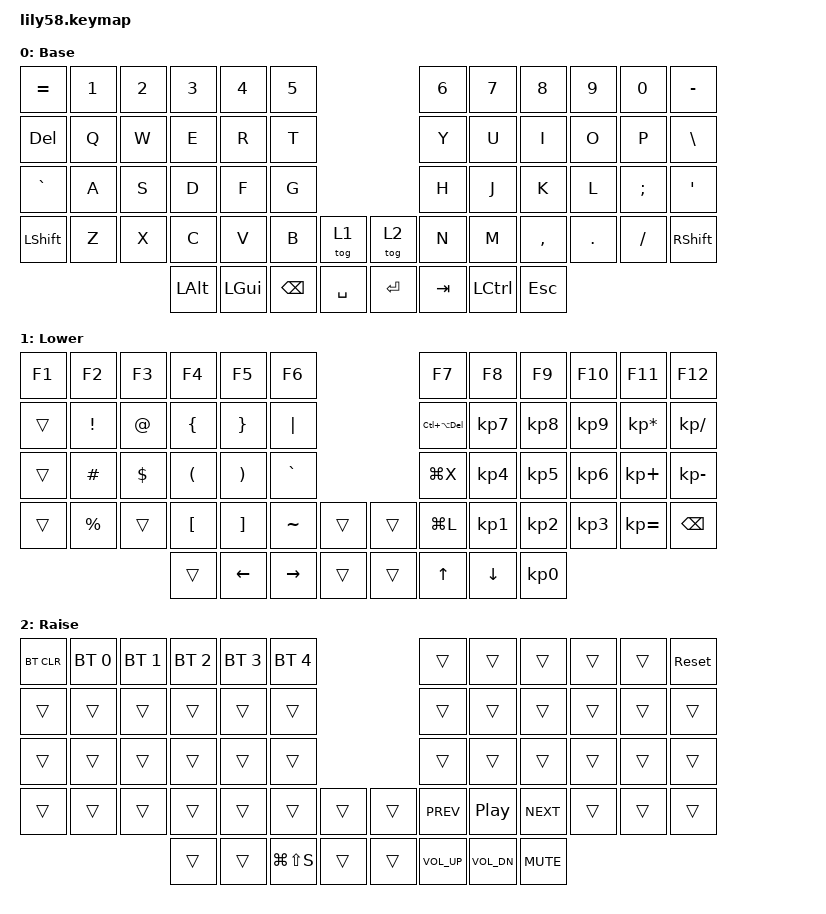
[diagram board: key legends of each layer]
/*
 * Copyright (c) 2020 The ZMK Contributors
 *
 * SPDX-License-Identifier: MIT
 */

#include <behaviors.dtsi>
#include <dt-bindings/zmk/bt.h>
#include <dt-bindings/zmk/keys.h>

/ {
    keymap {
        compatible = "zmk,keymap";

        default_layer {
            // ------------------------------------------------------------------------------------------------------------
            // |  ESC  |  1  |  2  |  3   |  4   |  5   |                   |  6   |  7    |  8    |  9   |   0   |   `   |
            // |  TAB  |  Q  |  W  |  E   |  R   |  T   |                   |  Y   |  U    |  I    |  O   |   P   |   -   |
            // |  CTRL |  A  |  S  |  D   |  F   |  G   |                   |  H   |  J    |  K    |  L   |   ;   |   '   |
            // | SHIFT |  Z  |  X  |  C   |  V   |  B   |   "["  |  |  "]"  |  N   |  M    |  ,    |  .   |   /   | SHIFT |
            //                     | ALT  | GUI  | LOWER|  SPACE |  | ENTER | RAISE| BSPC  | GUI   |

            label = "Base";
            bindings = <
&kp EQUAL   &kp N1  &kp N2  &kp N3    &kp N4    &kp N5                               &kp N6   &kp N7            &kp N8      &kp N9   &kp N0    &kp MINUS
&kp DELETE  &kp Q   &kp W   &kp E     &kp R     &kp T                                &kp Y    &kp U             &kp I       &kp O    &kp P     &kp BACKSLASH
&kp GRAVE   &kp A   &kp S   &kp D     &kp F     &kp G                                &kp H    &kp J             &kp K       &kp L    &kp SEMI  &kp SQT
&kp LSHFT   &kp Z   &kp X   &kp C     &kp V     &kp B          &tog 1       &tog 2   &kp N    &kp M             &kp COMMA   &kp DOT  &kp FSLH  &kp RSHFT
                            &kp LALT  &kp LGUI  &kp BACKSPACE  &kp SPACE    &kp RET  &kp TAB  &kp LEFT_CONTROL  &kp ESCAPE
            >;
        };

        lower_layer {
            // ------------------------------------------------------------------------------------------------------------
            // | BTCLR | BT1 | BT2 |  BT3 |  BT4 |  BT5 |                   |      |       |       |      |       |       |
            // |  F1   |  F2 |  F3 |  F4  |  F5  |  F6  |                   |  F7  |  F8   |  F9   |  F10 |  F11  |  F12  |
            // |   `   |  !  |  @  |  #   |  $   |  %   |                   |  ^   |  &    |  *    |  (   |   )   |   ~   |
            // |       |     |     |      |      |      |        |  |       |      |  _    |  +    |  {   |   }   |  "|"  |
            //                     |      |      |      |        |  |       |      |       |       |

            label = "Lower";
            bindings = <
&kp F1  &kp F2           &kp F3       &kp F4                &kp F5                 &kp F6                             &kp F7           &kp F8          &kp F9     &kp F10    &kp F11          &kp F12
&trans  &kp EXCLAMATION  &kp AT_SIGN  &kp LEFT_BRACE        &kp RIGHT_BRACE        &kp PIPE                           &kp LC(LA(DEL))  &kp KP_N7       &kp KP_N8  &kp KP_N9  &kp KP_MULTIPLY  &kp KP_DIVIDE
&trans  &kp HASH         &kp DOLLAR   &kp LEFT_PARENTHESIS  &kp RIGHT_PARENTHESIS  &kp GRAVE                          &kp LG(X)        &kp KP_N4       &kp KP_N5  &kp KP_N6  &kp KP_PLUS      &kp KP_SUBTRACT
&trans  &kp PERCENT      &trans       &kp LEFT_BRACKET      &kp RIGHT_BRACKET      &kp TILDE        &trans    &trans  &kp LG(L)        &kp KP_N1       &kp KP_N2  &kp KP_N3  &kp KP_EQUAL     &kp BACKSPACE
                                      &trans                &kp LEFT_ARROW         &kp RIGHT_ARROW  &trans    &trans  &kp UP           &kp DOWN_ARROW  &kp KP_N0
            >;
        };

        raise_layer {
            // ------------------------------------------------------------------------------------------------------------
            // |       |     |     |      |      |      |                   |      |       |       |      |       |       |
            // |   `   |  1  |  2  |  3   |  4   |  5   |                   |  6   |   7   |   8   |  9   |   0   |       |
            // |   F1  |  F2 |  F3 |  F4  |  F5  |  F6  |                   |      |   <-  |   v   |  ^   |  ->   |       |
            // |   F7  |  F8 |  F9 |  F10 |  F11 |  F12 |        |  |       |  +   |   -   |   =   |  [   |   ]   |   \   |
            //                     |      |      |      |        |  |       |      |       |       |

            label = "Raise";
            bindings = <
&bt BT_CLR  &bt BT_SEL 0  &bt BT_SEL 1  &bt BT_SEL 2  &bt BT_SEL 3  &bt BT_SEL 4                     &trans           &trans            &trans      &trans  &trans  &sys_reset
&trans      &trans        &trans        &trans        &trans        &trans                           &trans           &trans            &trans      &trans  &trans  &trans
&trans      &trans        &trans        &trans        &trans        &trans                           &trans           &trans            &trans      &trans  &trans  &trans
&trans      &trans        &trans        &trans        &trans        &trans         &trans    &trans  &kp C_PREV       &kp C_PLAY_PAUSE  &kp C_NEXT  &trans  &trans  &trans
                                        &trans        &trans        &kp LG(LS(S))  &trans    &trans  &kp C_VOLUME_UP  &kp C_VOL_DN      &kp C_MUTE
            >;
        };
    };
};
